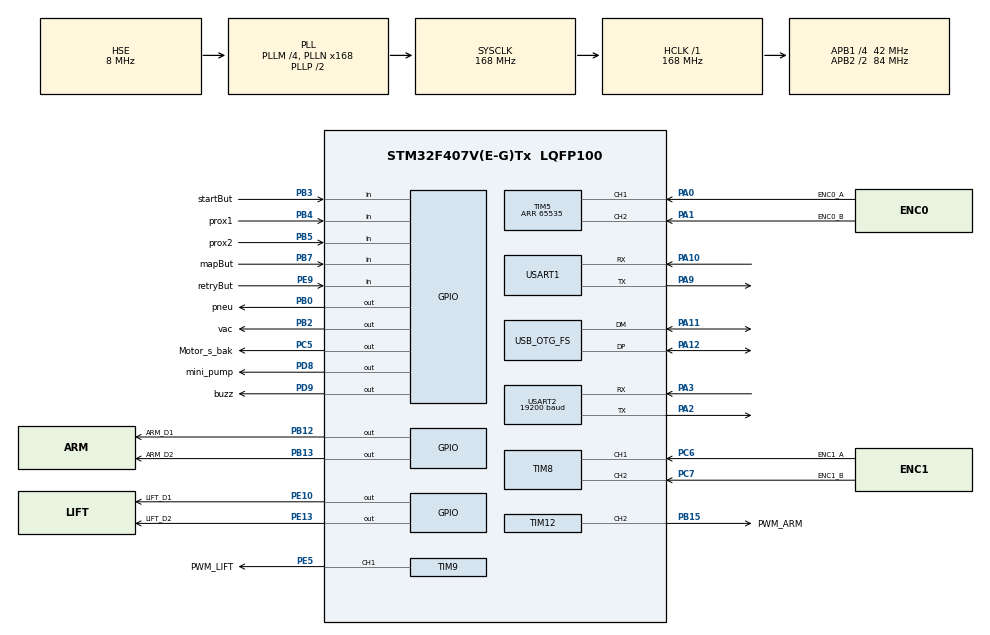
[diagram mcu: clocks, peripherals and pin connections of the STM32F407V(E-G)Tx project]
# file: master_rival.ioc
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Mcu.Family=STM32F4
Mcu.Name=STM32F407V(E-G)Tx
Mcu.Package=LQFP100
NVIC.OTG_FS_IRQn=true\:0\:0\:false\:false\:true\:false\:true\:true
NVIC.PriorityGroup=NVIC_PRIORITYGROUP_4
NVIC.TIM6_DAC_IRQn=true\:0\:0\:false\:false\:true\:true\:true\:true
NVIC.TIM7_IRQn=true\:0\:0\:false\:false\:true\:true\:true\:true
NVIC.USART1_IRQn=true\:0\:0\:false\:false\:true\:true\:true\:true
NVIC.USART2_IRQn=true\:0\:0\:false\:false\:true\:true\:true\:true
PA0-WKUP.GPIO_Label=ENC0_A
PA0-WKUP.Signal=S_TIM5_CH1
PA1.GPIO_Label=ENC0_B
PA1.Signal=S_TIM5_CH2
PA10.Mode=Asynchronous
PA10.Signal=USART1_RX
PA11.Mode=Device_Only
PA11.Signal=USB_OTG_FS_DM
PA12.Mode=Device_Only
PA12.Signal=USB_OTG_FS_DP
PA2.Mode=Asynchronous
PA2.Signal=USART2_TX
PA3.Mode=Asynchronous
PA3.Signal=USART2_RX
PA9.Mode=Asynchronous
PA9.Signal=USART1_TX
PB0.GPIO_Label=pneu
PB0.Signal=GPIO_Output
PB12.GPIO_Label=ARM_D1
PB12.Signal=GPIO_Output
PB13.GPIO_Label=ARM_D2
PB13.Signal=GPIO_Output
PB15.GPIO_Label=PWM_ARM
PB15.Signal=S_TIM12_CH2
PB2.GPIO_Label=vac
PB2.Signal=GPIO_Output
PB3.GPIO_Label=startBut
PB3.GPIO_PuPd=GPIO_PULLUP
PB3.Signal=GPIO_Input
PB4.GPIO_Label=prox1
PB4.GPIO_PuPd=GPIO_PULLUP
PB4.Signal=GPIO_Input
PB5.GPIO_Label=prox2
PB5.GPIO_PuPd=GPIO_PULLUP
PB5.Signal=GPIO_Input
PB7.GPIO_Label=mapBut
PB7.GPIO_PuPd=GPIO_PULLUP
PB7.Signal=GPIO_Input
PC5.GPIO_Label=Motor_s_bak
PC5.Signal=GPIO_Output
PC6.GPIO_Label=ENC1_A
PC6.Signal=S_TIM8_CH1
PC7.GPIO_Label=ENC1_B
PC7.Signal=S_TIM8_CH2
PD8.GPIO_Label=mini_pump
PD8.Signal=GPIO_Output
PD9.GPIO_Label=buzz
PD9.GPIO_ModeDefaultOutputPP=GPIO_MODE_OUTPUT_OD
PD9.GPIO_PuPd=GPIO_NOPULL
PD9.GPIO_Speed=GPIO_SPEED_FREQ_VERY_HIGH
PD9.PinState=GPIO_PIN_SET
PD9.Signal=GPIO_Output
PE10.GPIO_Label=LIFT_D1
PE10.Signal=GPIO_Output
PE13.GPIO_Label=LIFT_D2
PE13.Signal=GPIO_Output
PE5.GPIO_Label=PWM_LIFT
PE5.Signal=S_TIM9_CH1
PE9.GPIO_Label=retryBut
PE9.GPIO_PuPd=GPIO_PULLUP
PE9.Signal=GPIO_Input
PH0-OSC_IN.Mode=HSE-External-Oscillator
PH0-OSC_IN.Signal=RCC_OSC_IN
PH1-OSC_OUT.Mode=HSE-External-Oscillator
PH1-OSC_OUT.Signal=RCC_OSC_OUT
ProjectManager.HeapSize=0x200
ProjectManager.StackSize=0x400
ProjectManager.TargetToolchain=STM32CubeIDE
RCC.48MHZClocksFreq_Value=48000000
RCC.AHBFreq_Value=168000000
RCC.APB1CLKDivider=RCC_HCLK_DIV4
RCC.APB1Freq_Value=42000000
RCC.APB1TimFreq_Value=84000000
RCC.APB2CLKDivider=RCC_HCLK_DIV2
RCC.APB2Freq_Value=84000000
RCC.APB2TimFreq_Value=168000000
RCC.CortexFreq_Value=168000000
RCC.HCLKFreq_Value=168000000
RCC.HSE_VALUE=8000000
RCC.HSI_VALUE=16000000
RCC.LSE_VALUE=32768
RCC.PLLM=4
RCC.PLLN=168
RCC.PLLQ=7
RCC.SYSCLKFreq_VALUE=168000000
RCC.SYSCLKSource=RCC_SYSCLKSOURCE_PLLCLK
RCC.VCOOutputFreq_Value=336000000
SH.S_TIM12_CH2.0=TIM12_CH2,PWM Generation2 CH2
SH.S_TIM5_CH1.0=TIM5_CH1,Encoder_Interface
SH.S_TIM5_CH2.0=TIM5_CH2,Encoder_Interface
SH.S_TIM8_CH1.0=TIM8_CH1,Encoder_Interface
SH.S_TIM8_CH2.0=TIM8_CH2,Encoder_Interface
SH.S_TIM9_CH1.0=TIM9_CH1,PWM Generation1 CH1
TIM12.Channel-PWM\ Generation2\ CH2=TIM_CHANNEL_2
TIM12.Period=100-1
TIM12.Prescaler=84-1
TIM5.EncoderMode=TIM_ENCODERMODE_TI12
TIM5.IC1Filter=7
TIM5.IC1Polarity=TIM_ICPOLARITY_RISING
TIM5.IC2Filter=7
TIM5.Period=65535
TIM6.Period=10000-1
TIM6.Prescaler=84-1
TIM7.Period=1000 - 1
TIM7.Prescaler=84 - 1
TIM7.TIM_MasterOutputTrigger=TIM_TRGO_RESET
TIM8.EncoderMode=TIM_ENCODERMODE_TI12
TIM8.IC1Filter=7
TIM8.IC1Polarity=TIM_ICPOLARITY_RISING
TIM8.IC2Filter=7
TIM9.Channel-PWM\ Generation1\ CH1=TIM_CHANNEL_1
TIM9.Period=100-1
TIM9.Prescaler=168-1
USART1.VirtualMode=VM_ASYNC
USART2.BaudRate=19200
USART2.VirtualMode=VM_ASYNC
USB_DEVICE.CLASS_NAME_FS=CDC
USB_DEVICE.VirtualMode-CDC_FS=Cdc
USB_DEVICE.VirtualModeFS=Cdc_FS
USB_OTG_FS.VirtualMode=Device_Only
VP_TIM6_VS_ClockSourceINT.Mode=Enable_Timer
VP_TIM7_VS_ClockSourceINT.Mode=Enable_Timer
VP_USB_DEVICE_VS_USB_DEVICE_CDC_FS.Mode=CDC_FS
board=custom

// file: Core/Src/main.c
/* USER CODE BEGIN Header */
/**
  ******************************************************************************
  * @file           : main.c
  * @brief          : Main program body
  ******************************************************************************
  * @attention
  *
  * Copyright (c) 2024 STMicroelectronics.
  * All rights reserved.
  *
  * This software is licensed under terms that can be found in the LICENSE file
  * in the root directory of this software component.
  * If no LICENSE file comes with this software, it is provided AS-IS.
  *
  ******************************************************************************
  */
/* USER CODE END Header */
#include "main.h"
#include "tim.h"
#include "usart.h"
#include "usb_device.h"
#include "gpio.h"

/* USER CODE BEGIN Includes */
#include "stdio.h"
#include "stdlib.h"
#include "math.h"
#include "string.h"
#include "stdbool.h"

#include "usbd_cdc_if.h"
#include "slider.h"
/* USER CODE END Includes */

/* USER CODE BEGIN PV */

//master slave
uint8_t tx_buff[32]={'i','t','s'};
uint8_t Rx_buff[32];
uint8_t Rx_temp;
uint8_t Rx_state;
uint8_t calib_state;

//Odom
float EncRoll[2];
float RoboPose_Global[3];
float RoboPose[3];
float RoboTwist[3];
float RoboTwist_Global[3];
uint16_t enc_sum[2];

//time
uint32_t time_s;
uint32_t time_stamp_buzz;
uint32_t time_stamp_rx;
//vel
float RobotSpeed[3];

//pc
bool vacuum_status = 0, pneumatic_stat = 0;
bool startButton, retryButton;
bool mapButton;
bool pump_stat;
bool servo_stat;

uint8_t stm_to_pc[84] = {'i', 't', 's'};
uint8_t pc_to_stm[43];

//slider
short int encArm, tarArm, limArm;
short int encLifter, tarLifter, limLifter;

bool reset_arm;
uint32_t cnt_test;

uint32_t time_kirim;

uint8_t status_slider;
uint32_t timer_slider;
short int prev_enc_slider;

uint8_t status_lifter;
uint32_t timer_lifter;
short int prev_enc_lifter;

short int test_pwm;
short int lifter_test;

int sensor;

uint8_t arm_sensor,prev_armsensor;

uint32_t var;

//sensor
bool prox_kanan, prox_kiri;
int16_t IR_kanan, IR_kiri;
uint32_t buff_adc;

uint8_t data_temp;
uint8_t data_buff[35];
uint8_t data_state;
uint16_t ADC_Read[16];

float AVG_Sens;

typedef enum{
	plastik_putih,
	plastik_biru,
	kertas_coklat,
	kertas_koran,
	daun_hijau,
	daun_kering,
	botol_plastik,
	fero,
	non_fero,
	no_detect

}Sampah;

Sampah deteksi_sampah;

/* USER CODE END PV */

void SystemClock_Config(void);
/* USER CODE BEGIN PFP */
void Master_Kirim(void)
{
	  memcpy(tx_buff+3,RobotSpeed,12);
	  uint16_t check_s=0;

	  for(int i = 3;i<30;i++)
	  {
		  check_s += tx_buff[i];
	  }
	  check_s = ~check_s;

	  memcpy(tx_buff+30,&check_s,2);

	  HAL_UART_Transmit_IT(&huart1, tx_buff, 32);
}
/* USER CODE END PFP */

int main(void)
{

  /* MCU Configuration--------------------------------------------------------*/

  /* Reset of all peripherals, Initializes the Flash interface and the Systick. */
  HAL_Init();

  /* Configure the system clock */
  SystemClock_Config();

  /* Initialize all configured peripherals */
  MX_GPIO_Init();
  MX_USART1_UART_Init();
  MX_USB_DEVICE_Init();
  MX_TIM6_Init();
  MX_TIM5_Init();
  MX_TIM8_Init();
  MX_TIM9_Init();
  MX_TIM12_Init();
  MX_TIM7_Init();
  MX_USART2_UART_Init();
  /* USER CODE BEGIN 2 */
  HAL_GPIO_WritePin(buzz_GPIO_Port, buzz_Pin, GPIO_PIN_SET);

  HAL_TIM_Encoder_Start(&htim5, TIM_CHANNEL_ALL);
  HAL_TIM_Encoder_Start(&htim8, TIM_CHANNEL_ALL);

  HAL_TIM_PWM_Start(&htim9, TIM_CHANNEL_1);
  HAL_TIM_PWM_Start(&htim12, TIM_CHANNEL_2);

  HAL_UART_Receive_IT(&huart1, &Rx_temp, 1);
  HAL_UART_Receive_IT(&huart2, &data_temp, 1);

  HAL_TIM_Base_Start_IT(&htim6);
  HAL_TIM_Base_Start_IT(&htim7);

  /* USER CODE END 2 */

  /* Infinite loop */
  while (1)
  {

    /* USER CODE BEGIN 3 */
	  if(HAL_GetTick() - time_s >= 100){
		for(int i = 0;i<3;i++)
		{
			HAL_GPIO_WritePin(buzz_GPIO_Port, buzz_Pin, GPIO_PIN_RESET);
			HAL_Delay(50);
			HAL_GPIO_WritePin(buzz_GPIO_Port, buzz_Pin, GPIO_PIN_SET);
			HAL_Delay(50);
		}
		Rx_state = 0;
		HAL_UART_Receive_IT(&huart1, &Rx_temp, 1);
	  }

	  //transmit to pc
	  if(HAL_GPIO_ReadPin(startBut_GPIO_Port, startBut_Pin) == GPIO_PIN_RESET){
		  startButton = 1;
	  }
	  else{
		  startButton = 0;
	  }
	  if(HAL_GPIO_ReadPin(retryBut_GPIO_Port, retryBut_Pin) == GPIO_PIN_RESET){
		  retryButton = 1;
	  }
	  else{
		  retryButton = 0;
	  }

	  if(HAL_GPIO_ReadPin(mapBut_GPIO_Port, mapBut_Pin) == GPIO_PIN_RESET){
		  mapButton = 1;
	  }
	  else{
		  mapButton = 0;
	  }

	  if(HAL_GPIO_ReadPin(prox1_GPIO_Port, prox1_Pin) == GPIO_PIN_RESET){
		  prox_kanan = 1;
	  }
	  else{
		  prox_kanan = 0;
	  }
	  if(HAL_GPIO_ReadPin(prox2_GPIO_Port, prox2_Pin) == GPIO_PIN_RESET){
		  prox_kiri = 1;
	  }
	  else{
		  prox_kiri = 0;
	  }

//	  AVG_Sens = (ADC_Read[0] + ADC_Read[1] + ADC_Read[2] + ADC_Read[3]
//			    + ADC_Read[6] + ADC_Read[7] + ADC_Read[8] + ADC_Read[10]
//				+ ADC_Read[11] + ADC_Read[12] + ADC_Read[13] + ADC_Read[14]
//				+ ADC_Read[15])*0.076923077;
//		  AVG_Sens *= 0.2;

//	  if(AVG_Sens > 2700)
//		  deteksi_sampah = plastik_putih;
//	  else if(AVG_Sens > 1100 && AVG_Sens < 1450)
//		  deteksi_sampah = plastik_biru;
//	  else if(AVG_Sens > 1700 && AVG_Sens < 1900)
//		  deteksi_sampah = daun_kering;
//	  else if(AVG_Sens > 2000 && AVG_Sens < 2400)
//		  deteksi_sampah = kertas_coklat;
//	  else if(AVG_Sens > 500 && AVG_Sens < 800)
//		  deteksi_sampah = daun_hijau;
//	  else
//		  deteksi_sampah = no_detect;
//	  8 2 15 1 14
//	  AVG_Sens = (ADC_Read[1] + ADC_Read[2] + ADC_Read[8] + ADC_Read[14] + ADC_Read[15])*0.2;

	  memcpy(stm_to_pc+3, RoboPose_Global, 12);
	  memcpy(stm_to_pc+15, RoboPose, 8);
	  memcpy(stm_to_pc+23, &time_stamp_rx, 4);
	  memcpy(stm_to_pc+27, &encArm, 2);
	  memcpy(stm_to_pc+29, &encLifter, 2);
	  memcpy(stm_to_pc+31, &startButton, 1);
	  memcpy(stm_to_pc+32, &retryButton, 1);
	  memcpy(stm_to_pc+33, &mapButton, 1);
	  memcpy(stm_to_pc+34, &prox_kanan, 1);
	  memcpy(stm_to_pc+35, &prox_kiri, 1);
	  memcpy(stm_to_pc+36, ADC_Read, 32);

	  uint16_t check_s_pc=0;

	  for(int i = 3; i<82; i++)
	  {
		  check_s_pc += stm_to_pc[i];
	  }
	  check_s_pc = ~check_s_pc;

	  memcpy(stm_to_pc+82, &check_s_pc, 2);

	  CDC_Transmit_FS(stm_to_pc, 84);

	  HAL_Delay(1);

  }
  /* USER CODE END 3 */
}

void SystemClock_Config(void)
{
  RCC_OscInitTypeDef RCC_OscInitStruct = {0};
  RCC_ClkInitTypeDef RCC_ClkInitStruct = {0};

  /** Configure the main internal regulator output voltage
  */
  __HAL_RCC_PWR_CLK_ENABLE();
  __HAL_PWR_VOLTAGESCALING_CONFIG(PWR_REGULATOR_VOLTAGE_SCALE1);

  /** Initializes the RCC Oscillators according to the specified parameters
  * in the RCC_OscInitTypeDef structure.
  */
  RCC_OscInitStruct.OscillatorType = RCC_OSCILLATORTYPE_HSE;
  RCC_OscInitStruct.HSEState = RCC_HSE_ON;
  RCC_OscInitStruct.PLL.PLLState = RCC_PLL_ON;
  RCC_OscInitStruct.PLL.PLLSource = RCC_PLLSOURCE_HSE;
  RCC_OscInitStruct.PLL.PLLM = 4;
  RCC_OscInitStruct.PLL.PLLN = 168;
  RCC_OscInitStruct.PLL.PLLP = RCC_PLLP_DIV2;
  RCC_OscInitStruct.PLL.PLLQ = 7;
  if (HAL_RCC_OscConfig(&RCC_OscInitStruct) != HAL_OK)
  {
    Error_Handler();
  }

  /** Initializes the CPU, AHB and APB buses clocks
  */
  RCC_ClkInitStruct.ClockType = RCC_CLOCKTYPE_HCLK|RCC_CLOCKTYPE_SYSCLK
                              |RCC_CLOCKTYPE_PCLK1|RCC_CLOCKTYPE_PCLK2;
  RCC_ClkInitStruct.SYSCLKSource = RCC_SYSCLKSOURCE_PLLCLK;
  RCC_ClkInitStruct.AHBCLKDivider = RCC_SYSCLK_DIV1;
  RCC_ClkInitStruct.APB1CLKDivider = RCC_HCLK_DIV4;
  RCC_ClkInitStruct.APB2CLKDivider = RCC_HCLK_DIV2;

  if (HAL_RCC_ClockConfig(&RCC_ClkInitStruct, FLASH_LATENCY_5) != HAL_OK)
  {
    Error_Handler();
  }
}

/* USER CODE BEGIN 4 */
void HAL_UART_RxCpltCallback(UART_HandleTypeDef *huart)
{
	// Master-slave
	if (huart->Instance == USART1)
	{
		if (Rx_temp == 'i' && Rx_state == 0)
		{
			Rx_state = 1;
			Rx_buff[0] = Rx_temp;
			HAL_UART_Receive_IT(&huart1, &Rx_temp, 1);
		}
		else if (Rx_temp == 't' && Rx_state == 1)
		{
			Rx_state = 2;
			Rx_buff[1] = Rx_temp;
			HAL_UART_Receive_IT(&huart1, &Rx_temp, 1);
		}
		else if (Rx_temp == 's' && Rx_state == 2)
		{
			Rx_state = 3;
			Rx_buff[2] = Rx_temp;
			HAL_UART_Receive_IT(&huart1, Rx_buff + 3, 29);
		}
		else if (Rx_state == 3)
		{
			uint16_t check_s = 0;
			for (int i = 3; i < 30; i++)
			{
				check_s += Rx_buff[i];
			}
			check_s = ~check_s;

			uint16_t check_recv;
			memcpy(&check_recv, Rx_buff + 30, 2);

			if (check_recv == check_s)
			{
				time_s = HAL_GetTick();
				memcpy(&RoboPose_Global[0], Rx_buff + 3, 4);
				memcpy(&RoboPose_Global[1], Rx_buff + 7, 4);
				memcpy(&RoboPose_Global[2], Rx_buff + 11, 4);
				memcpy(&RoboPose[0], Rx_buff + 15, 4);
				memcpy(&RoboPose[1], Rx_buff + 19, 4);
				memcpy(&time_stamp_rx, Rx_buff + 23, 4);

			}

			Rx_state = 0;
			HAL_UART_Receive_IT(&huart1, &Rx_temp, 1);
		}
		else
		{
			Rx_state = 0;
			HAL_UART_Receive_IT(&huart1, &Rx_temp, 1);
		}
	}
	else if(huart->Instance == USART2)
	{
		if (data_temp == 'i' && data_state == 0)
		{
			data_state = 1;
			data_buff[0] = data_temp;
			HAL_UART_Receive_IT(&huart2, &data_temp, 1);
		}
		else if (data_temp == 't' && data_state == 1)
		{
			data_state = 2;
			data_buff[1] = data_temp;
			HAL_UART_Receive_IT(&huart2, &data_temp, 1);
		}
		else if (data_temp == 's' && data_state == 2)
		{
			data_state = 3;
			data_buff[2] = data_temp;
			HAL_UART_Receive_IT(&huart2, data_buff + 3, 32);
		}
		else if (Rx_state == 3)
		{
			memcpy(ADC_Read, data_buff+3, 32);

			data_state = 0;
			HAL_UART_Receive_IT(&huart2, &data_temp, 1);
		}
		else
		{
			data_state = 0;
			HAL_UART_Receive_IT(&huart2, &data_temp, 1);
		}
	}
}

void HAL_TIM_PeriodElapsedCallback(TIM_HandleTypeDef *htim)
{

	// Timer 50 hz
	if(htim->Instance == TIM6)
	{
		encArm = TIM5->CNT;
		encLifter = TIM8->CNT;

	   if(vacuum_status == 1)
		   HAL_GPIO_WritePin(vac_GPIO_Port, vac_Pin, GPIO_PIN_SET);
	   else
		   HAL_GPIO_WritePin(vac_GPIO_Port, vac_Pin, GPIO_PIN_RESET);
	   if(pump_stat == 1)
		   HAL_GPIO_WritePin(mini_pump_GPIO_Port, mini_pump_Pin, GPIO_PIN_SET);
	   else
		   HAL_GPIO_WritePin(mini_pump_GPIO_Port, mini_pump_Pin, GPIO_PIN_RESET);

	   if(pneumatic_stat == 1)
		   HAL_GPIO_WritePin(pneu_GPIO_Port, pneu_Pin, GPIO_PIN_SET);
	   else
		   HAL_GPIO_WritePin(pneu_GPIO_Port, pneu_Pin, GPIO_PIN_RESET);

//	   pwm_Arm(test_pwm);
//	   pwm_Lifter(lifter_test);
	   if (status_lifter == 2)
		{
			if (status_slider == 255)
			{
				Arm(tarArm, encArm, limArm);
			}
			else if (status_slider == 0)
			{
				pwm_Arm(30);
			}
			else if (status_slider == 1)
			{
				Arm(1700, encArm, 30);

				if (encArm > 1500)
					status_slider = 255;
			}

		   if(status_slider == 0)
		   {
			   pwm_Arm(-30);
			   if(++timer_slider > 25)
			   {
				   timer_slider = 0;
				   status_slider = 1;
			   }
			   prev_enc_slider = encArm;
		   }
		   else if(status_slider == 1)
		   {
			   pwm_Arm(-30);
			   if(prev_enc_slider == encArm)
				   timer_slider++;
			   else
				   timer_slider =0;

			   if(timer_slider > 50)
			   {
				   status_slider = 2;
				   TIM5->CNT = 0;
			   }

			   prev_enc_slider = encArm;
		   }
		   else
		   {
			   Arm(tarArm, encArm, limArm);
		   }

		}

	   switch(status_lifter)
	   {
	   case 0:

		   pwm_Lifter(-30);
		   if(++timer_lifter>25)
		   {
			   timer_lifter = 0;

			   status_lifter =1;
		   }

		   prev_enc_lifter = encLifter;
		   break;

	   case 1:

		   pwm_Lifter(-30);

		   if(prev_enc_lifter == encLifter)
		   {
			   timer_lifter++;
		   }
		   else
		   {
			   timer_lifter = 0;
		   }

		   prev_enc_lifter = encLifter;

		   if(timer_lifter > 50)
		   {
			   status_lifter = 2;
			   TIM8->CNT = 0;
		   }
		   break;

	   case 2:

		   Lifter(tarLifter, encLifter, limLifter);

		   break;
	   }

	}

	else if(htim->Instance == TIM7)
	{

		if(++var > 1000){
			RobotSpeed[0] = 0;
			RobotSpeed[1] = 0;
			RobotSpeed[2] = 0;
		}
		Master_Kirim();
	}
}

/* USER CODE END 4 */

void Error_Handler(void)
{
  __disable_irq();
  while (1)
  {
  }
}
